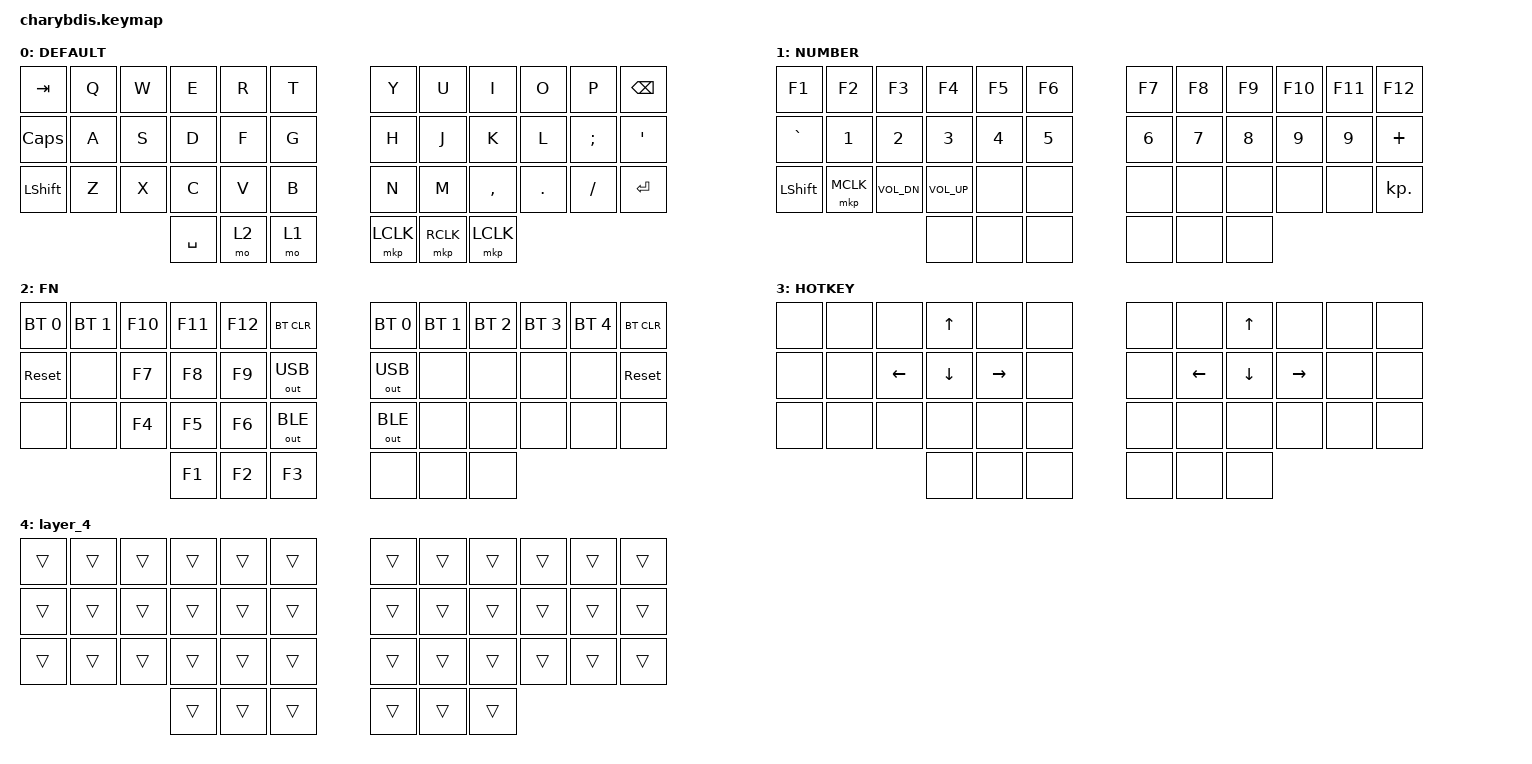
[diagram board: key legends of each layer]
#include <dt-bindings/zmk/mouse.h>
#include <behaviors.dtsi>
#include <dt-bindings/zmk/bt.h>
#include <dt-bindings/zmk/keys.h>
#include <dt-bindings/zmk/outputs.h>
#include <dt-bindings/zmk/pointing.h>

#define DEFAULT 0
#define NUMBER  1
#define FN  2
#define HOTKEY  3

/ {
    combos {
        compatible = "zmk,combos";

        combo_lbrc {
            timeout-ms = <50>;
            key-positions = <4 5>; // KP: VB
            bindings = <&mt RBRC LBRC>;
            layers = <0 1 2 3 4 5>;
        };

        combo_rbrc {
            timeout-ms = <50>;
            key-positions = <6 7>; // KP: NM
            bindings = <&kp RBRC>;
            layers = <0 1 2 3 4 5>;
        };

        combo_lpar {
            timeout-ms = <50>;
            key-positions = <16 17>; // KP: FG
            bindings = <&mt RPAR LPAR>;
            layers = <0 1 2 3 4 5>;
        };

        combo_rpar {
            timeout-ms = <50>;
            key-positions = <18 19>;
            bindings = <&kp RPAR>;
            layers = <0 1 2 3 4 5>;
        };

        combo_lbkt {
            timeout-ms = <50>;
            key-positions = <28 29>; // KP: RT
            bindings = <&mt RBKT LBKT>;  // 可以用CMD+这个单手返回到代码上一个编辑的地方 或者网页返回
            layers = <0 1 2 3 4 5>;
        };

        combo_rbkt {
            timeout-ms = <50>;
            key-positions = <30 31>; // KP: YU
            bindings = <&kp RBKT>;
            layers = <0 1 2 3 4 5>;
        };

        esc {
            timeout-ms = <50>;
            key-positions = <0 1>;
            bindings = <&kp ESC>; // ESC
            layers = <0>;
        };

        up {
            bindings = <&kp UP>;
            key-positions = <3 4>;
            layers = <0>;
            timeout-ms = <50>;
        };

        down {
            bindings = <&kp DOWN>;
            key-positions = <27 28>;
            timeout-ms = <50>;
            layers = <0>;
        };

        left {
            bindings = <&kp LEFT>;
            key-positions = <14 15>;
            layers = <0>;
            timeout-ms = <50>;
        };

        right {
            bindings = <&kp RIGHT>;
            key-positions = <15 16>;
            layers = <0>;
            timeout-ms = <50>;
        };
    };

    keymap {
        compatible = "zmk,keymap";

        default_layer {
            label = "DEFAULT";
            bindings = <
&kp TAB       &kp Q  &kp W  &kp E      &kp R  &kp T  &kp Y      &kp U      &kp I      &kp O    &kp P     &kp BACKSPACE
&kp CAPSLOCK  &kp A  &kp S  &kp D      &kp F  &kp G  &kp H      &kp J      &kp K      &kp L    &kp SEMI  &kp SQT
&kp LSHFT     &kp Z  &kp X  &kp C      &kp V  &kp B  &kp N      &kp M      &kp COMMA  &kp DOT  &kp FSLH  &kp ENTER
                            &kp SPACE  &mo 2  &mo 1  &mkp LCLK  &mkp RCLK  &mkp LCLK
            >;
        };

        number_layer {
            label = "NUMBER";
            bindings = <
&kp F1     &kp F2     &kp F3        &kp F4        &kp F5  &kp F6  &kp F7  &kp F8  &kp F9  &kp F10  &kp F11  &kp F12
&kp GRAVE  &kp N1     &kp N2        &kp N3        &kp N4  &kp N5  &kp N6  &kp N7  &kp N8  &kp N9   &kp N9   &kp PLUS
&kp LSHFT  &mkp MCLK  &kp C_VOL_DN  &kp C_VOL_UP  &none   &none   &none   &none   &none   &none    &none    &kp KP_DOT
                                    &none         &none   &none   &none   &none   &none
            >;
        };

        fn_layer {
            label = "FN";
            bindings = <
&bt BT_SEL 0  &bt BT_SEL 1  &kp F10  &kp F11  &kp F12  &bt BT_CLR    &bt BT_SEL 0  &bt BT_SEL 1  &bt BT_SEL 2  &bt BT_SEL 3  &bt BT_SEL 4  &bt BT_CLR
&sys_reset    &none         &kp F7   &kp F8   &kp F9   &out OUT_USB  &out OUT_USB  &none         &none         &none         &none         &sys_reset
&none         &none         &kp F4   &kp F5   &kp F6   &out OUT_BLE  &out OUT_BLE  &none         &none         &none         &none         &none
                                     &kp F1   &kp F2   &kp F3        &none         &none         &none
            >;
        };

        hotkey_layer {
            label = "HOTKEY";
            bindings = <
&none  &none  &none     &kp UP    &none      &none  &none  &none     &kp UP    &none      &none  &none
&none  &none  &kp LEFT  &kp DOWN  &kp RIGHT  &none  &none  &kp LEFT  &kp DOWN  &kp RIGHT  &none  &none
&none  &none  &none     &none     &none      &none  &none  &none     &none     &none      &none  &none
                        &none     &none      &none  &none  &none     &none
            >;
        };

        layer_4 {
            bindings = <
&trans  &trans  &trans  &trans  &trans  &trans  &trans  &trans  &trans  &trans  &trans  &trans
&trans  &trans  &trans  &trans  &trans  &trans  &trans  &trans  &trans  &trans  &trans  &trans
&trans  &trans  &trans  &trans  &trans  &trans  &trans  &trans  &trans  &trans  &trans  &trans
                        &trans  &trans  &trans  &trans  &trans  &trans
            >;
        };
    };
};
